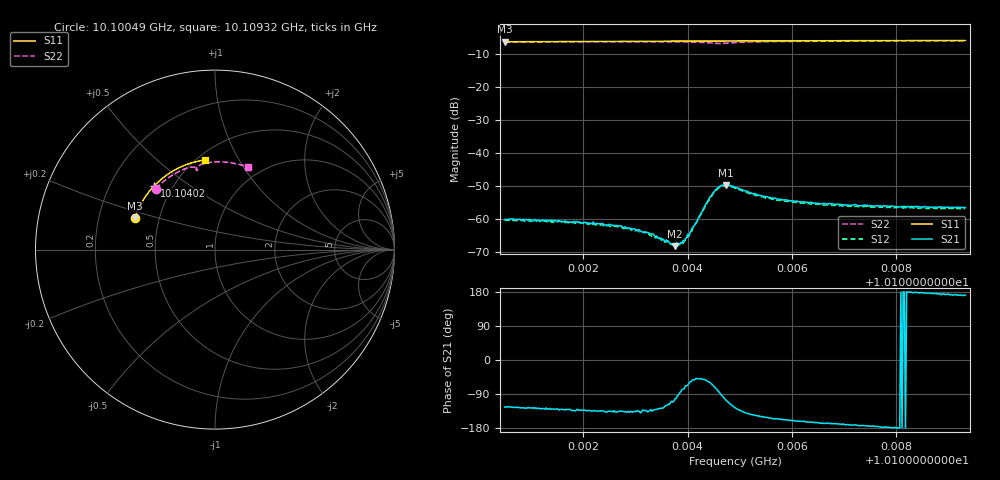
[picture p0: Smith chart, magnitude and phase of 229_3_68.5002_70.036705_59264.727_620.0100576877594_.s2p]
#  HZ  S  RI  R  50.00
! Rohde & Schwarz Vector Network Analyzer
! Rohde-Schwarz,ZNB20-2Port,1311601062101988,3.16
! Created: UTC 3/20/2024, 4:58:53 PM
! freq[Hz]  re:S11  im:S11  re:S21  im:S21  re:S12  im:S12  re:S22  im:S22
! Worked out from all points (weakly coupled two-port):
!   401 points, 10.10049 GHz to 10.10932 GHz, reference 50 ohm
!   highest |S21| = -49.70 dB at 10.10473 GHz (marker M1); lowest = -68.2 dB at 10.10376 GHz (marker M2)
!   lowest |S11| = -6.4 dB at 10.10049 GHz (marker M3), VSWR 2.85, Z = 18.1 + j8.22 ohm
!   |S11| at or under -10 dB: nowhere
!   |S22| runs from -6.9 to -6.1 dB; largest |S21 - S12| = 0.00033
!   S11 on the Smith chart (normalised r, x): 10.10049 GHz: 0.36, +0.16; 10.10402 GHz: 0.40, +0.37; 10.10932 GHz: 0.55, +0.73
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1.0100495e10  -0.4473 0.1746  -0.000546 -0.00081  -0.00046 -0.000851  -0.3287 0.3399
1.0101421e10  -0.4265 0.2271  -0.000592 -0.000725  -0.00051 -0.000755  -0.285 0.3809
1.0101973e10  -0.4113 0.257  -0.000577 -0.00064  -0.000538 -0.000685  -0.2564 0.4025
1.0102679e10  -0.3889 0.2936  -0.000562 -0.000545  -0.000497 -0.000573  -0.2171 0.4271
1.0103164e10  -0.3715 0.3173  -0.000434 -0.000454  -0.000385 -0.000478  -0.1881 0.4418
1.0103297e10  -0.3665 0.3236  -0.000387 -0.000448  -0.000356 -0.000447  -0.1797 0.4455
1.0103451e10  -0.3606 0.3309  -0.000325 -0.000404  -0.000281 -0.000442  -0.1697 0.4493
1.0103627e10  -0.3536 0.3391  -0.000205 -0.000411  -0.000196 -0.000411  -0.158 0.4533
1.0103716e10  -0.3501 0.3431  -0.000144 -0.000371  -0.000112 -0.000383  -0.152 0.4553
1.010376e10  -0.3482 0.3451  -8.22e-05 -0.000379  -5.99e-05 -0.000411  -0.1489 0.456
1.0103892e10  -0.3427 0.351  9.15e-05 -0.00042  0.000109 -0.00041  -0.1391 0.4583
1.0104025e10  -0.3372 0.3571  0.000262 -0.000482  0.000295 -0.000479  -0.1288 0.4596
1.0104466e10  -0.3181 0.3754  0.00101 -0.0021  0.00115 -0.00193  -0.0972 0.4479
1.0104598e10  -0.3123 0.3808  0.000332 -0.00305  0.000587 -0.00288  -0.0989 0.4411
1.0104731e10  -0.3062 0.3861  -0.000872 -0.00316  -0.000587 -0.00308  -0.1043 0.444
1.0104907e10  -0.2982 0.3931  -0.00177 -0.00245  -0.0015 -0.00251  -0.1021 0.4564
1.0105216e10  -0.2835 0.4047  -0.00199 -0.00145  -0.00177 -0.00154  -0.0829 0.4715
1.0105503e10  -0.2695 0.4152  -0.00191 -0.00104  -0.00171 -0.00112  -0.063 0.4788
1.0105768e10  -0.2563 0.4242  -0.0018 -0.000809  -0.00168 -0.000931  -0.0447 0.4831
1.0106385e10  -0.2244 0.4435  -0.0017 -0.00048  -0.00158 -0.000636  -0.00338 0.488
1.0107863e10  -0.1425 0.4793  -0.00153 -5.53e-05  -0.00147 -0.000219  0.0923 0.4832
1.0109319e10  -0.057 0.4994  -0.00147 0.000226  -0.00142 6.7e-05  0.1823 0.4601
